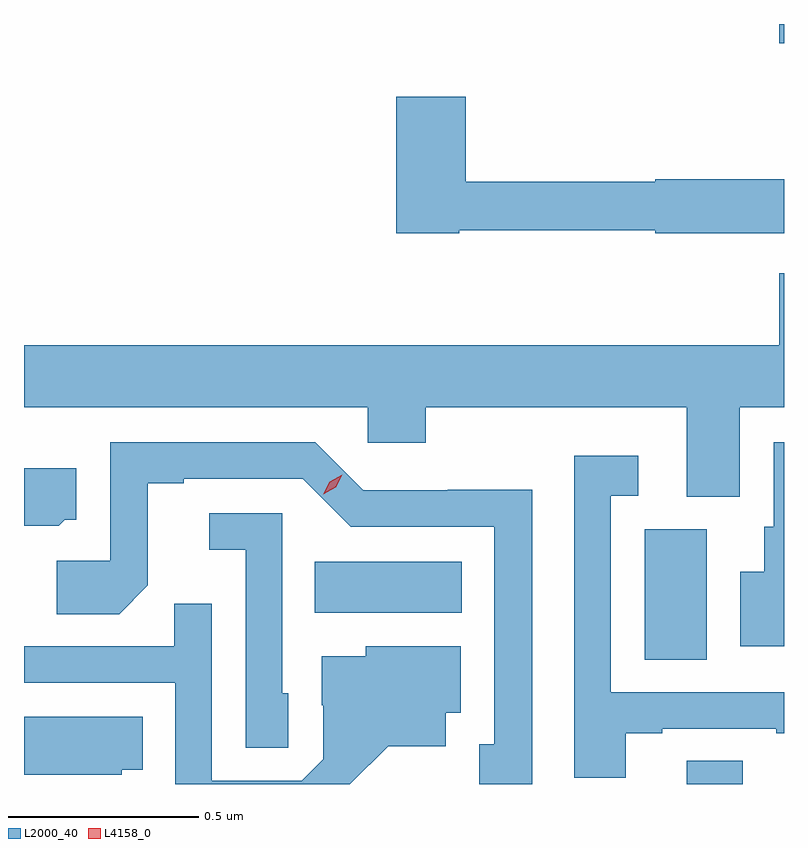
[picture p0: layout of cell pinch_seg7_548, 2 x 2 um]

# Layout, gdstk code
import gdstk
lib = gdstk.Library(unit=1e-6, precision=1e-09)
def R(c, l, rs):  # rectangles x0, y0, x1, y1
    for r in rs: c.add(gdstk.rectangle(r[:2], r[2:], *l))
def P(c, l, *ps):  # polygons
    for p in ps: c.add(gdstk.Polygon(p, *l))
L2000_40 = (2000, 40)
L4158_0 = (4158, 0)

pinch_seg7_548 = lib.new_cell('pinch_seg7_548')
R(pinch_seg7_548, L2000_40, [(152.777,1066.225,152.925,1066.286), (152.666,1066.552,152.83,1066.896), (151.798,1066.676,152.185,1066.81), (153.02,1068.174,153.033,1068.225)])
P(pinch_seg7_548, L2000_40, [(152.178,1067.682),(152.694,1067.682),(152.694,1067.674),(153.033,1067.674),(153.033,1067.816),(152.694,1067.816),(152.694,1067.81),(152.195,1067.81),(152.195,1068.034),(152.012,1068.034),(152.012,1067.674),(152.178,1067.674)],
  [(152.917,1067.216),(153.033,1067.216),(153.033,1067.569),(153.02,1067.569),(153.02,1067.38),(151.033,1067.38),(151.033,1067.216),(151.938,1067.216),(151.938,1067.123),(152.09,1067.123),(152.09,1067.216),(152.777,1067.216),(152.777,1066.981),(152.917,1066.981)],
  [(153.033,1067.124),(153.006,1067.124),(153.006,1066.902),(152.981,1066.902),(152.981,1066.783),(152.918,1066.783),(152.918,1066.587),(153.033,1066.587)],
  [(152.371,1067),(152.148,1067),(152.148,1066.998),(151.926,1066.998),(151.8,1067.124),(151.26,1067.124),(151.26,1066.812),(151.119,1066.812),(151.119,1066.672),(151.283,1066.672),(151.359,1066.748),(151.359,1067.016),(151.453,1067.016),(151.453,1067.028),(151.767,1067.028),(151.893,1066.902),(152.27,1066.902),(152.27,1066.329),(152.231,1066.329),(152.231,1066.225),(152.371,1066.225)],
  [(152.617,1066.359),(152.713,1066.359),(152.713,1066.371),(153.013,1066.371),(153.013,1066.359),(153.033,1066.359),(153.033,1066.467),(152.577,1066.467),(152.577,1066.983),(152.65,1066.983),(152.65,1067.089),(152.481,1067.089),(152.481,1066.242),(152.617,1066.242)],
  [(151.14,1066.92),(151.171,1066.92),(151.171,1067.056),(151.033,1067.056),(151.033,1066.904),(151.124,1066.904)],
  [(151.728,1066.464),(151.713,1066.464),(151.713,1066.938),(151.521,1066.938),(151.521,1066.841),(151.617,1066.841),(151.617,1066.321),(151.728,1066.321)],
  [(151.991,1066.325),(152.143,1066.325),(152.143,1066.412),(152.182,1066.412),(152.182,1066.588),(151.932,1066.588),(151.932,1066.561),(151.817,1066.561),(151.817,1066.432),(151.821,1066.432),(151.821,1066.29),(151.764,1066.233),(151.527,1066.233),(151.527,1066.7),(151.429,1066.7),(151.429,1066.587),(151.033,1066.587),(151.033,1066.491),(151.431,1066.491),(151.431,1066.225),(151.89,1066.225)],
  [(151.29,1066.262),(151.346,1066.262),(151.346,1066.402),(151.033,1066.402),(151.033,1066.25),(151.29,1066.25)])
P(pinch_seg7_548, L4158_0, [(151.82,1066.988),(151.82,1066.988),(151.838,1067.02),(151.87,1067.039),(151.871,1067.039),(151.871,1067.039),(151.853,1067.006),(151.821,1066.988)])

lib.write_gds('pinch_seg7_548.gds')
